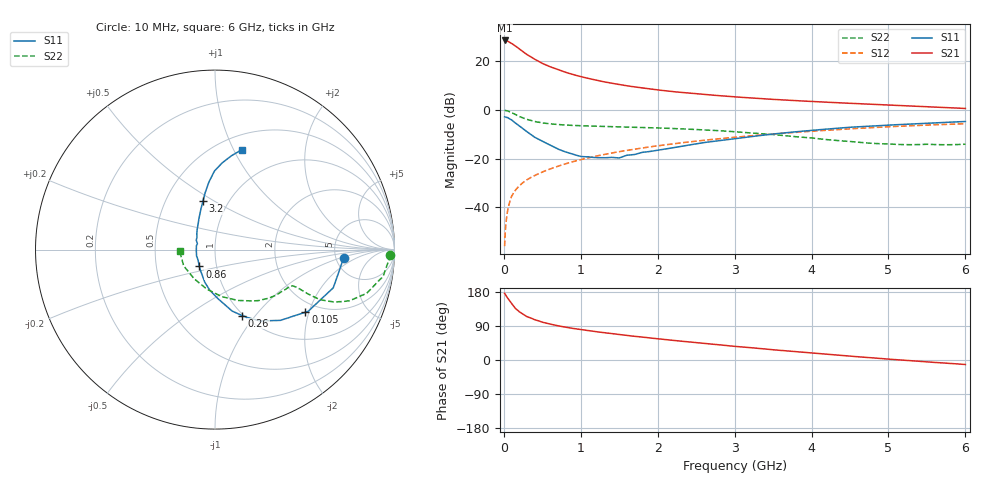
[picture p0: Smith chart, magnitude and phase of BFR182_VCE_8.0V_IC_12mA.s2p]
! Infineon Technologies  Discrete & RF Semiconductors
! BFR182
! VCE =  8.0 V,  IC =  12 mA
! Common Emitter S-Parameters:  Nov 2015
# GHz  S  MA  R  50
!  f  S11  S21  S12  S22
! GHz  MAG  ANG  MAG  ANG  MAG  ANG  MAG  ANG
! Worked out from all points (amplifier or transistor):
!   210 points, 10 MHz to 6 GHz, reference 50 ohm
!   highest |S21| = 28.4 dB at 10 MHz (marker M1)
!   |S21| within 3 dB of that: start of sweep to 181.3 MHz
!   unconditionally stable (mu >= 1): 783.1 MHz to 2.745 GHz
!   at 185 MHz: K = 0.54, MSG = 28.5 dB, |S12| = -31.7 dB
!   at 1.52 GHz: K = 1.04, MAG = 12.4 dB, |S12| = -17.1 dB
!   at 6 GHz: K = 0.90, MSG = 3.1 dB, |S12| = -5.7 dB
!   S11 on the Smith chart (normalised r, x): 10 MHz: 5.89, -1.10; 105 MHz: 1.70, -1.90; 260 MHz: 0.98, -0.86; 860 MHz: 0.83, -0.16; 3.2 GHz: 0.76, +0.45; 6 GHz: 0.65, +1.07
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0.01  0.7184 -3.6  26.39 175.8  0.0016 86.0  0.9768 -1.7
0.02  0.709 -6.9  26.26 172.4  0.0034 84.1  0.9696 -3.6
0.05  0.6924 -17.9  25.62 163.1  0.0087 81.5  0.9486 -9.0
0.1  0.6227 -33.5  23.07 148.9  0.0167 75.3  0.8797 -16.1
0.105  0.6128 -34.7  22.75 147.8  0.0173 74.7  0.8715 -16.5
0.15  0.5373 -47.2  20.37 136.1  0.0225 70.8  0.8004 -20.9
0.2  0.4698 -57.8  17.76 127.4  0.0275 68.9  0.7307 -23.6
0.26  0.397 -67.7  15.05 119.3  0.0332 67.6  0.6691 -25.0
0.3  0.3557 -74.4  13.59 114.5  0.0368 67.8  0.6356 -25.5
0.4  0.2741 -86.5  10.91 106.4  0.0448 68.3  0.5752 -25.5
0.5  0.2268 -97.7  8.944 99.8  0.0529 68.6  0.5379 -25.1
0.6  0.1893 -107.7  7.646 94.8  0.0612 68.8  0.5154 -24.9
0.7  0.1574 -117.0  6.667 90.4  0.0694 69.5  0.4991 -24.8
0.86  0.1283 -132.8  5.508 84.6  0.0832 69.3  0.4816 -25.0
1.02  0.1098 -151.1  4.708 79.8  0.0968 69.3  0.4702 -25.8
1.4  0.1059 167.9  3.501 69.6  0.1294 67.6  0.4525 -29.1
2.02  0.1504 131.5  2.535 55.6  0.1844 63.3  0.4243 -36.8
3.1  0.2675 105.2  1.797 34.4  0.2824 53.2  0.3457 -55.7
3.2  0.28 103.8  1.754 32.7  0.2914 52.1  0.3361 -58.0
4.1  0.3904 94.0  1.455 16.9  0.3727 42.3  0.2541 -85.4
5.1  0.494 84.1  1.237 0.9  0.4569 30.5  0.1955 -131.0
6  0.5757 75.1  1.065 -11.9  0.5175 18.5  0.197 -177.3
